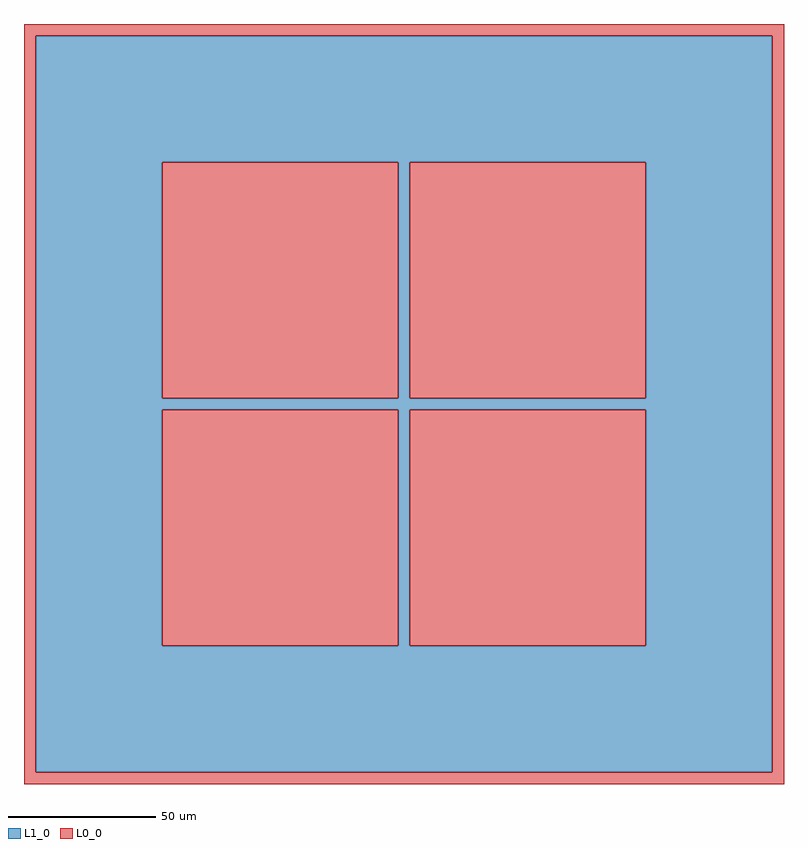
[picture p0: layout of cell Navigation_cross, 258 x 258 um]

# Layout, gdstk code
import gdstk
lib = gdstk.Library(unit=1e-6, precision=1e-09)
def R(c, l, rs):  # rectangles x0, y0, x1, y1
    for r in rs: c.add(gdstk.rectangle(r[:2], r[2:], *l))
def P(c, l, *ps):  # polygons
    for p in ps: c.add(gdstk.Polygon(p, *l))
L0_0 = (0, 0)
L1_0 = (1, 0)

navigation_cross = lib.new_cell('Navigation_cross')
R(navigation_cross, L0_0, [(-82,-82,-2,-2), (2,-82,82,-2), (-82,2,-2,82), (2,2,82,82)])
P(navigation_cross, L0_0, [(129,129),(-125,129),(-125,125),(125,125),(125,-125),(-125,-125),(-125,129),(-129,129),(-129,-129),(129,-129)])
P(navigation_cross, L1_0, [(125,125),(2,125),(2,82),(82,82),(82,2),(2,2),(2,-2),(82,-2),(82,-82),(2,-82),(2,125),(-82,125),(-82,82),(-2,82),(-2,2),(-82,2),(-82,-2),(-2,-2),(-2,-82),(-82,-82),(-82,125),(-125,125),(-125,-125),(125,-125)])

lib.write_gds('Navigation_cross.gds')
